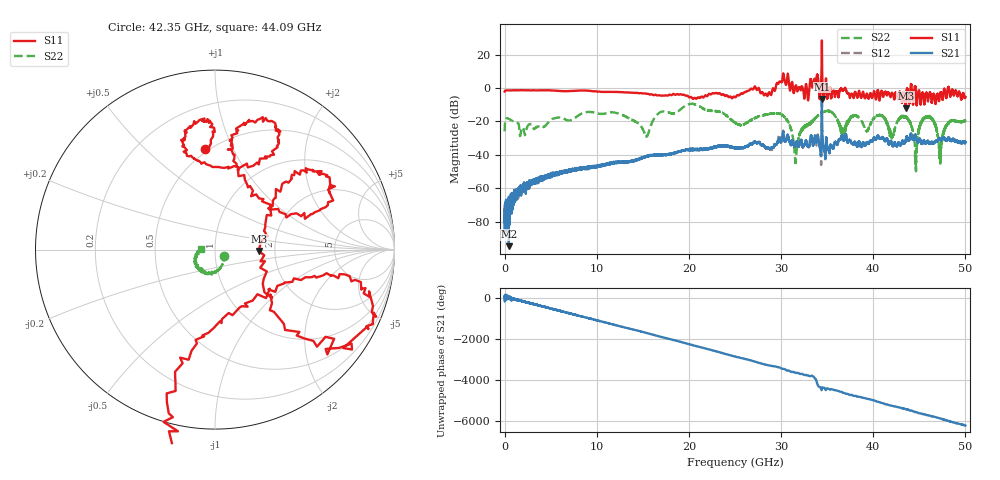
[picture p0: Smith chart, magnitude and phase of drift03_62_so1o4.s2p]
!Created with skrf (http://scikit-rf.org).
# Hz S RI R 50.0
!freq ReS11 ImS11 ReS21 ImS21 ReS12 ImS12 ReS22 ImS22
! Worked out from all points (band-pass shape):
!   10000 points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, 5.3 MHz to 50 GHz, reference 50 ohm
!   highest |S21| = -6.59 dB at 34.43 GHz (marker M1); lowest = -94.7 dB at 460.3 MHz (marker M2)
!   |S21| within 3 dB of the highest: 34.42741 GHz to 34.43438 GHz (6.972 MHz wide, 0.0202 % of centre)
!   lowest |S11| = -12.3 dB at 43.52 GHz (marker M3), VSWR 1.65, Z = 82.2 - j1.41 ohm
!   |S11| at or under -10 dB: 43.48448 GHz to 43.54928 GHz (64.8 MHz wide, 0.149 % of centre); 44.31478 GHz to 44.31527 GHz (486.6 kHz wide, 0.0011 % of centre); 44.70568 GHz to 44.7132 GHz (7.523 MHz wide, 0.0168 % of centre) (the widest 3 of 4)
!   |S22| runs from -49.8 to -9.4 dB; largest |S21 - S12| = 0.14
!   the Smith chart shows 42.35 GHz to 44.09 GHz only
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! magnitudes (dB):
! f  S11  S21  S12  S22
! 5.3 MHz  -2.1  -73.6  -69.7  -25.9
! 460.3 MHz  -1.4  -94.7  -70.6  -18.5
! 2.195 GHz  -1.3  -59.8  -58.2  -28.2
! 8.34 GHz  -1.5  -47.8  -48.2  -15.3
! 12.47 GHz  -2.4  -44.2  -44.5  -15.5
! 15.4 GHz  -3.5  -41.0  -40.8  -28.9
! 16.67 GHz  -4.4  -39.9  -40.2  -15.3
! 20.47 GHz  -6.5  -36.7  -36.8  -9.5
! 25.01 GHz  -5.5  -35.8  -35.7  -20.8
! 29.93 GHz  4.0  -32.5  -31.9  -15.6
! 31.6 GHz  1.5  -33.6  -34.0  -43.1
! 33.34 GHz  2.7  -30.1  -30.6  -20.3
! 34.43 GHz  28.5  -6.6  -8.5  -14.5
! 36.69 GHz  -1.5  -29.9  -29.7  -27.2
! 37.98 GHz  -2.9  -32.2  -32.3  -16.4
! 41.67 GHz  -2.9  -33.4  -33.2  -23.4
! 43.52 GHz  -12.3  -31.3  -31.2  -17.4
! 44.62 GHz  -2.3  -29.4  -29.3  -48.4
! 45.69 GHz  -3.7  -33.0  -33.1  -17.1
! 47.26 GHz  -3.4  -30.8  -30.9  -41.3
! 48.2 GHz  0.1  -30.1  -29.9  -20.8
! 50 GHz  -5.3  -32.6  -32.4  -19.5
